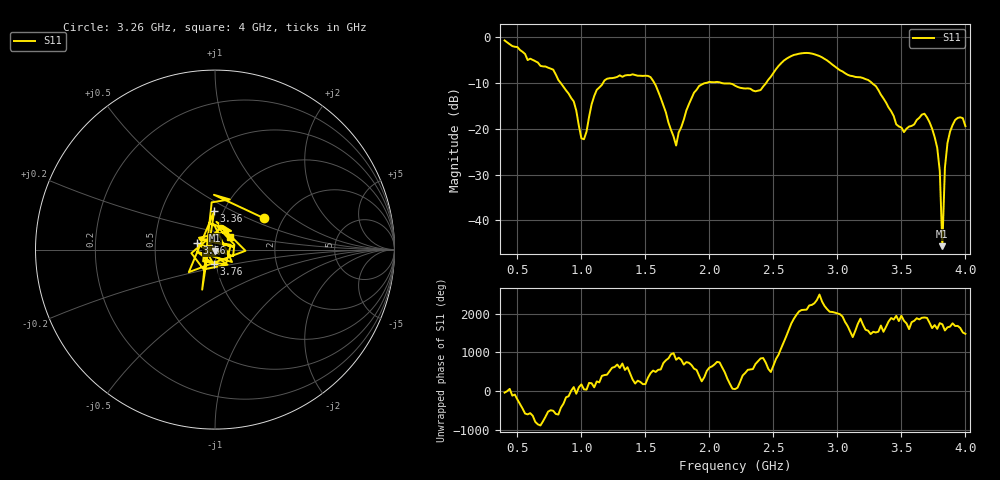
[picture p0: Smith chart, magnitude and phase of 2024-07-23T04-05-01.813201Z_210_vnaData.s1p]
!Created with skrf (http://scikit-rf.org).
# Hz S RI R 50.0
!freq ReS11 ImS11
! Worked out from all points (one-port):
!   181 points, 400 MHz to 4 GHz, reference 50 ohm
!   lowest |S11| = -45.6 dB at 3.82 GHz (marker M1), VSWR 1.01, Z = 50.1 - j0.507 ohm
!   |S11| at or under -10 dB: 1.569 GHz to 1.98 GHz (410.6 MHz wide, 23.1 % of centre); 2.091 GHz to 2.444 GHz (353.2 MHz wide, 15.6 % of centre); 3.268 GHz to end of sweep (the widest 3 of 4)
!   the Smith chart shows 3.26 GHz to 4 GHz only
!   S11 on the Smith chart (normalised r, x): 3.26 GHz: 1.60, +0.63; 3.36 GHz: 0.91, +0.40; 3.56 GHz: 0.82, +0.06; 3.76 GHz: 0.97, -0.16; 4 GHz: 1.17, +0.16
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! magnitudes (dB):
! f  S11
! 400 MHz  -0.8
! 780 MHz  -7.1
! 860 MHz  -10.9
! 940 MHz  -14.1
! 1 GHz  -22.1
! 1.02 GHz  -22.3
! 1.12 GHz  -11.5
! 1.3 GHz  -8.4
! 1.54 GHz  -8.8
! 1.74 GHz  -23.7
! 1.76 GHz  -20.8
! 1.92 GHz  -10.7
! 2.2 GHz  -10.6
! 2.4 GHz  -11.6
! 2.66 GHz  -3.9
! 3.1 GHz  -8.5
! 3.26 GHz  -9.8
! 3.36 GHz  -13.4
! 3.46 GHz  -19.1
! 3.56 GHz  -19.5
! 3.68 GHz  -16.7
! 3.76 GHz  -21.9
! 3.8 GHz  -29.2
! 3.82 GHz  -45.6
! 3.84 GHz  -28.5
! 3.86 GHz  -23.1
! 3.92 GHz  -18.1
! 4 GHz  -19.5
